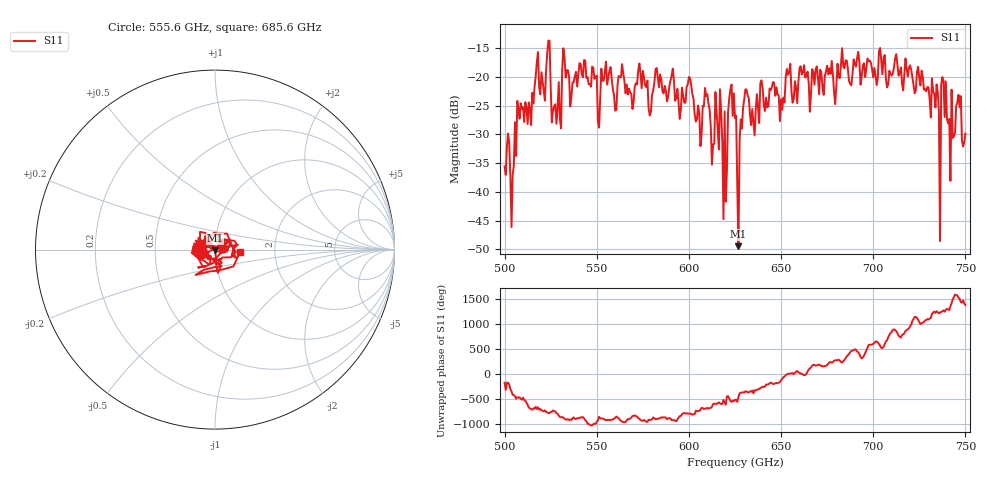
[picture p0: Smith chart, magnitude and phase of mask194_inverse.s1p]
!Created with skrf (http://scikit-rf.org).
# GHz S MA R 50.0
!freq magS11 angS11
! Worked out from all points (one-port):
!   401 points, 500 GHz to 750 GHz, reference 50 ohm
!   lowest |S11| = -49.4 dB at 626.9 GHz (marker M1), VSWR 1.01, Z = 49.9 - j0.328 ohm
!   |S11| at or under -10 dB: start of sweep to end of sweep
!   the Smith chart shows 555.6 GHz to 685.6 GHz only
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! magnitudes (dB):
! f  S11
! 500 GHz  -35.6
! 503.8 GHz  -46.1
! 508.1 GHz  -27.3
! 517.5 GHz  -17.4
! 523.8 GHz  -13.7
! 526.9 GHz  -25.1
! 531.2 GHz  -18.7
! 562.5 GHz  -20.1
! 593.8 GHz  -22.1
! 605.6 GHz  -26.3
! 610 GHz  -23.0
! 612.5 GHz  -35.3
! 616.2 GHz  -32.6
! 619.4 GHz  -26.0
! 622.5 GHz  -22.2
! 625 GHz  -27.2
! 626.9 GHz  -49.4
! 631.2 GHz  -22.2
! 634.4 GHz  -25.6
! 656.2 GHz  -24.5
! 687.5 GHz  -21.2
! 718.8 GHz  -19.9
! 733.1 GHz  -23.0
! 735 GHz  -22.6
! 738.1 GHz  -20.7
! 743.1 GHz  -30.6
! 746.2 GHz  -23.1
! 750 GHz  -29.8
